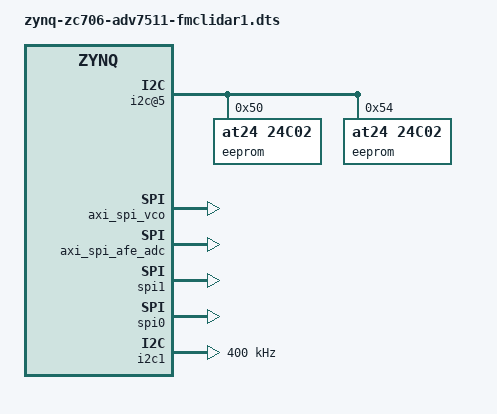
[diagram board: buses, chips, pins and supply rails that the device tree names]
// SPDX-License-Identifier: GPL-2.0
/*
 * Prototyping platform for LiDAR applications
 * Link: https://wiki.analog.com/resources/eval/user-guides/ad-fmclidar1-ebz
 *
 * hdl_project: <ad_fmclidar1_ebz/zc706>
 * board_revision: <B>
 *
 * Copyright 2020 Analog Devices Inc.
 */
/dts-v1/;

#include "zynq-zc706.dtsi"
#include "zynq-zc706-adv7511.dtsi"

&i2c_mux {
	i2c@5 { /* HPC IIC */
		#address-cells = <1>;
		#size-cells = <0>;
		reg = <5>;

		eeprom@50 {
			compatible = "at24,24c02";
			reg = <0x50>;
		};

		eeprom@54 {
			compatible = "at24,24c02";
			reg = <0x54>;
		};
	};
};

&fpga_axi {
	axi_spi_vco: axi_quad_spi@7c500000 {
		reg = <0x7c500000 0x10000>;
		compatible = "xlnx,xps-spi-2.00.a";
		bits-per-word = <8>;
		clock-names = "ext_spi_clk", "s_axi_aclk";
		clocks = <&clkc 15>, <&clkc 15>;
		fifo-size = <16>;
		interrupt-names = "ip2intc_irpt";
		interrupt-parent = <&intc>;
		interrupts = <0 54 IRQ_TYPE_EDGE_RISING>;
		num-cs = <0x1>;
		xlnx,num-ss-bits = <0x1>;
		xlnx,spi-mode = <0>;
		#address-cells = <1>;
		#size-cells = <0>;
	};

	axi_spi_afe_adc: axi_quad_spi@7c600000 {
		reg = <0x7c600000 0x10000>;
		compatible = "xlnx,xps-spi-2.00.a";
		bits-per-word = <8>;
		clock-names = "ext_spi_clk", "s_axi_aclk";
		clocks = <&clkc 15>, <&clkc 15>;
		fifo-size = <16>;
		interrupt-names = "ip2intc_irpt";
		interrupt-parent = <&intc>;
		interrupts = <0 53 IRQ_TYPE_EDGE_RISING>;
		num-cs = <0x1>;
		xlnx,num-ss-bits = <0x1>;
		xlnx,spi-mode = <0>;
		#address-cells = <1>;
		#size-cells = <0>;
	};

	axi_pulse_capture: axi-pulse-capture@7c700000 {
		compatible = "adi,axi-pulse-capture-1.00.a";
		reg = <0x7c700000 0x10000>;
		interrupts = <0 52 IRQ_TYPE_LEVEL_HIGH>;
		clocks = <&axi_ad9094_adxcvr 1>;
	};

	rx_dma: rx-dmac@7c400000 {
		compatible = "adi,axi-dmac-1.00.a";
		reg = <0x7c400000 0x10000>;
		#dma-cells = <1>;
		interrupts = <0 57 IRQ_TYPE_LEVEL_HIGH>;
		clocks = <&clkc 16>;

		adi,channels {
			#size-cells = <0>;
			#address-cells = <1>;

			dma-channel@0 {
				reg = <0>;
				adi,source-bus-width = <256>;
				adi,source-bus-type = <2>;
				adi,destination-bus-width = <64>;
				adi,destination-bus-type = <0>;
			};
		};
	};

	axi_ad9094_core: axi-ad9094-hpc@44a10000 {
		compatible = "adi,axi-ad9694-1.0";
		reg = <0x44a10000 0x10000>;
		dmas = <&rx_dma 0>;
		dma-names = "rx";
		spibus-connected = <&ad9094>;
		adi,axi-additional-channel-available;
	};

	axi_ad9094_rx_jesd: axi-jesd204-rx@44aa0000 {
		compatible = "adi,axi-jesd204-rx-1.0";
		reg = <0x44aa0000 0x1000>;

		interrupts = <0 55 IRQ_TYPE_LEVEL_HIGH>;

		clocks = <&clkc 16>, <&ad9528 3>, <&axi_ad9094_adxcvr 0>;
		clock-names = "s_axi_aclk", "device_clk", "lane_clk";

		adi,octets-per-frame = <1>;
		adi,frames-per-multiframe = <32>;
		adi,converter-resolution = <8>;
		adi,bits-per-sample = <8>;
		adi,converters-per-device = <2>;
		adi,subclass = <1>;

		#clock-cells = <0>;
		clock-output-names = "jesd_adc_lane_clk";
	};

	axi_ad9094_adxcvr: axi-adxcvr-rx@44a50000 {
		compatible = "adi,axi-adxcvr-1.0";
		reg = <0x44a50000 0x1000>;

		clocks = <&ad9528 4>;
		clock-names = "conv";

		#clock-cells = <1>;
		clock-output-names = "adc_gt_clk", "rx_out_clk";

		adi,sys-clk-select = <3>;
		adi,out-clk-select = <3>;
		adi,use-lpm-enable;
	};
};

&spi1 {
	status = "okay";
};

&spi0 {
	status = "okay";
};

&i2c1 {
	status = "okay";
	clock-frequency = <400000>;
};

#define spi_vco		axi_spi_vco
#define spi_clkgen	spi1
#define spi_adc		spi0
#define spi_afe_adc	axi_spi_afe_adc
#define i2c_afe_dac	i2c1

#include "adi-fmclidar1.dtsi"

&ad7091 {
	convst-gpios = <&gpio0 91 0>;
};
